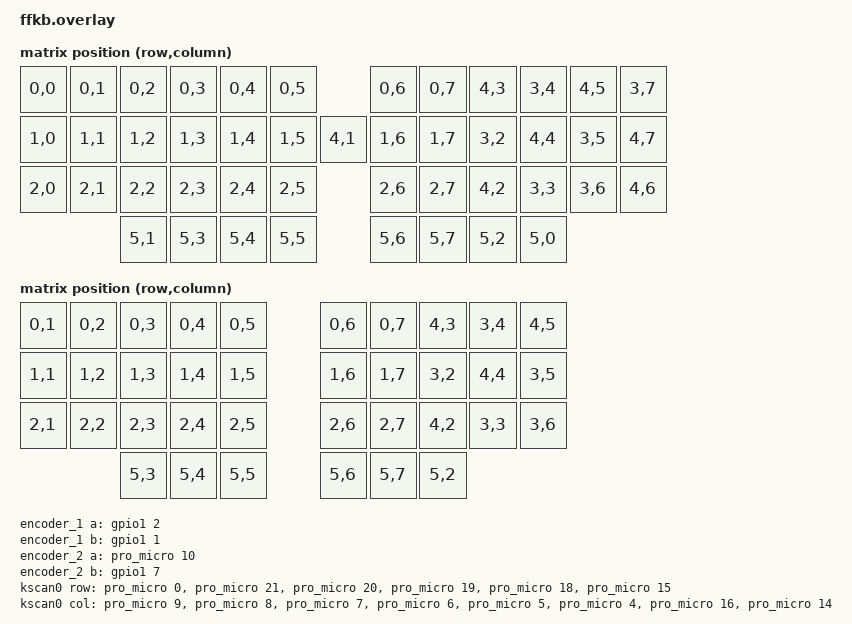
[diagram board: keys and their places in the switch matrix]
/*
 * Copyright (c) 2021 The ZMK Contributors
 *
 * SPDX-License-Identifier: MIT
 */

#include <dt-bindings/zmk/matrix_transform.h>

/ {
    chosen {
        zmk,kscan = &kscan0;
        zmk,matrix_transform = &default_transform;
        zephyr,display = &oled;
    };

    // Left encoder
    encoder_1: encoder_1 {
        compatible = "alps,ec11";
        label = "Encoder 1";
        a-gpios = <&gpio1 2 (GPIO_ACTIVE_LOW | GPIO_PULL_UP)>;
        b-gpios = <&gpio1 1 (GPIO_ACTIVE_LOW | GPIO_PULL_UP)>;
        resolution = <4>;
        status = "okay";
    };

    // Right encoder
    encoder_2: encoder_2 {
        compatible = "alps,ec11";
        label = "Encoder 2";
        a-gpios = <&pro_micro 10 (GPIO_ACTIVE_LOW | GPIO_PULL_UP)>;
        b-gpios = <&gpio1 7 (GPIO_ACTIVE_LOW | GPIO_PULL_UP)>;
        resolution = <4>;
        status = "okay";
    };

    sensors {
        compatible = "zmk,keymap-sensors";
        sensors = <&encoder_1 &encoder_2>;
    };

    kscan0: kscan_0 {
        compatible = "zmk,kscan-gpio-matrix";
        label = "KSCAN";
        diode-direction = "col2row";

        col-gpios
            = <&pro_micro 9 GPIO_ACTIVE_HIGH> // col 0
            , <&pro_micro 8 GPIO_ACTIVE_HIGH> // col 1
            , <&pro_micro 7 GPIO_ACTIVE_HIGH> // col 2
            , <&pro_micro 6 GPIO_ACTIVE_HIGH>  // col 3
            , <&pro_micro 5 GPIO_ACTIVE_HIGH>  // col 4
            , <&pro_micro 4 GPIO_ACTIVE_HIGH>  // col 5
            , <&pro_micro 16 GPIO_ACTIVE_HIGH> // col 6
            , <&pro_micro 14 GPIO_ACTIVE_HIGH> // col 7
            ;

        row-gpios
            = <&pro_micro 0 (GPIO_ACTIVE_HIGH | GPIO_PULL_DOWN)>  // row 0
            , <&pro_micro 21 (GPIO_ACTIVE_HIGH | GPIO_PULL_DOWN)> // row 1
            , <&pro_micro 20 (GPIO_ACTIVE_HIGH | GPIO_PULL_DOWN)> // row 2
            , <&pro_micro 19 (GPIO_ACTIVE_HIGH | GPIO_PULL_DOWN)> // row 3
            , <&pro_micro 18 (GPIO_ACTIVE_HIGH | GPIO_PULL_DOWN)> // row 4
            , <&pro_micro 15 (GPIO_ACTIVE_HIGH | GPIO_PULL_DOWN)> // row 5
            ;
    };

    default_transform: keymap_transform_0 {
        compatible = "zmk,matrix-transform";
        columns = <8>;
        rows = <6>;

        map = <
             RC(0,0) RC(0,1) RC(0,2) RC(0,3) RC(0,4) RC(0,5)         RC(0,6) RC(0,7) RC(4,3) RC(3,4) RC(4,5) RC(3,7)
             RC(1,0) RC(1,1) RC(1,2) RC(1,3) RC(1,4) RC(1,5) RC(4,1) RC(1,6) RC(1,7) RC(3,2) RC(4,4) RC(3,5) RC(4,7)
             RC(2,0) RC(2,1) RC(2,2) RC(2,3) RC(2,4) RC(2,5)         RC(2,6) RC(2,7) RC(4,2) RC(3,3) RC(3,6) RC(4,6)
                             RC(5,1) RC(5,3) RC(5,4) RC(5,5)         RC(5,6) RC(5,7) RC(5,2) RC(5,0)
        >;
    };

    five_column_noencoder_transform: keymap_transform_1 {
        compatible = "zmk,matrix-transform";
        columns = <8>;
        rows = <6>;

        map = <
             RC(0,1) RC(0,2) RC(0,3) RC(0,4) RC(0,5)         RC(0,6) RC(0,7) RC(4,3) RC(3,4) RC(4,5)
             RC(1,1) RC(1,2) RC(1,3) RC(1,4) RC(1,5)         RC(1,6) RC(1,7) RC(3,2) RC(4,4) RC(3,5)
             RC(2,1) RC(2,2) RC(2,3) RC(2,4) RC(2,5)         RC(2,6) RC(2,7) RC(4,2) RC(3,3) RC(3,6)
                             RC(5,3) RC(5,4) RC(5,5)         RC(5,6) RC(5,7) RC(5,2)
        >;
    };
};

&pro_micro_i2c {
    status = "okay";

    oled: ssd1306@3c {
        compatible = "solomon,ssd1306fb";
        reg = <0x3c>;
        label = "DISPLAY";
        width = <128>;
        height = <64>;
        segment-offset = <0>;
        page-offset = <0>;
        display-offset = <0>;
        multiplex-ratio = <63>;
        prechargep = <0x22>;
    };
};
